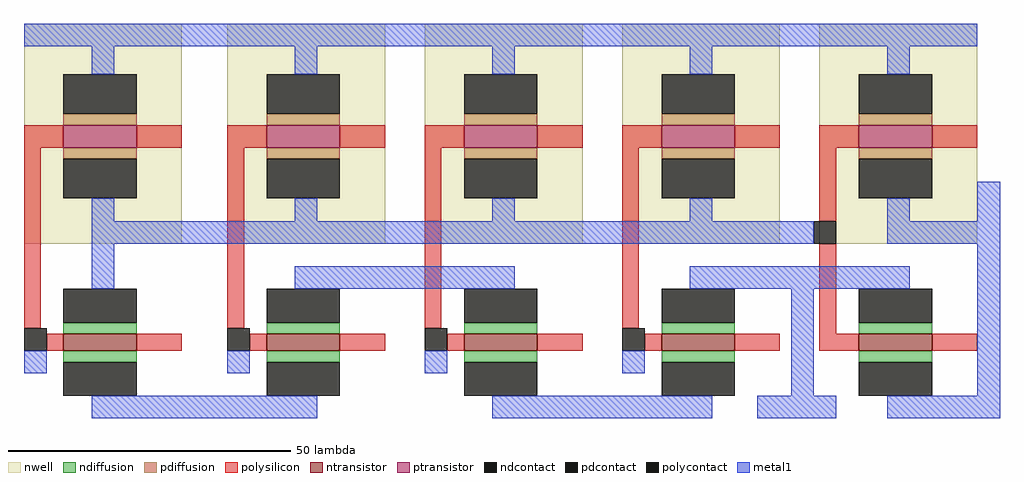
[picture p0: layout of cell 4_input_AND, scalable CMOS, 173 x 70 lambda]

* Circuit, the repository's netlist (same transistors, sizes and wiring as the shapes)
* SPICE3 file created from 4_input.ext - technology: scmos

.option scale=0.09u

M1000 a_n21_n38# a_n28_n41# a_n57_n49# Gnd nfet w=13 l=3
+  ad=208 pd=84 as=208 ps=84
M1001 a_n57_n1# a_n28_n41# a_n57_n38# w_n28_n22# pfet w=13 l=4
+  ad=585 pd=220 as=468 ps=176
M1002 a_49_n38# a_42_n41# a_14_n49# Gnd nfet w=13 l=3
+  ad=208 pd=84 as=208 ps=84
M1003 a_49_n38# a_n57_n38# a_84_n49# Gnd nfet w=13 l=3
+  ad=0 pd=0 as=104 ps=42
M1004 a_n21_n38# a_7_n41# a_14_n49# Gnd nfet w=13 l=3
+  ad=0 pd=0 as=0 ps=0
M1005 a_n57_n1# a_n64_n41# a_n57_n38# w_n64_n22# pfet w=13 l=4
+  ad=0 pd=0 as=0 ps=0
M1006 a_n57_n1# a_7_n41# a_n57_n38# w_7_n22# pfet w=13 l=4
+  ad=0 pd=0 as=0 ps=0
M1007 a_n57_n38# a_n64_n41# a_n57_n49# Gnd nfet w=13 l=3
+  ad=104 pd=42 as=0 ps=0
M1008 a_n57_n1# a_42_n41# a_n57_n38# w_42_n22# pfet w=13 l=4
+  ad=0 pd=0 as=0 ps=0
M1009 a_n57_n1# a_n57_n38# a_84_n49# w_77_n22# pfet w=13 l=4
+  ad=0 pd=0 as=117 ps=44

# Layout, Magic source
magic
tech scmos
<< nwell >>
rect -64 -22 -36 17
rect -28 -22 0 17
rect 7 -22 35 17
rect 42 -22 70 17
rect 77 -22 105 17
<< ntransistor >>
rect -57 -41 -44 -38
rect -21 -41 -8 -38
rect 14 -41 27 -38
rect 49 -41 62 -38
rect 84 -41 97 -38
<< ptransistor >>
rect -57 -5 -44 -1
rect -21 -5 -8 -1
rect 14 -5 27 -1
rect 49 -5 62 -1
rect 84 -5 97 -1
<< ndiffusion >>
rect -57 -38 -44 -36
rect -21 -38 -8 -36
rect 14 -38 27 -36
rect 49 -38 62 -36
rect 84 -38 97 -36
rect -57 -43 -44 -41
rect -21 -43 -8 -41
rect 14 -43 27 -41
rect 49 -43 62 -41
rect 84 -43 97 -41
<< pdiffusion >>
rect -57 -1 -44 1
rect -21 -1 -8 1
rect 14 -1 27 1
rect 49 -1 62 1
rect 84 -1 97 1
rect -57 -7 -44 -5
rect -21 -7 -8 -5
rect 14 -7 27 -5
rect 49 -7 62 -5
rect 84 -7 97 -5
<< ndcontact >>
rect -57 -36 -44 -30
rect -21 -36 -8 -30
rect 14 -36 27 -30
rect 49 -36 62 -30
rect 84 -36 97 -30
rect -57 -49 -44 -43
rect -21 -49 -8 -43
rect 14 -49 27 -43
rect 49 -49 62 -43
rect 84 -49 97 -43
<< pdcontact >>
rect -57 1 -44 8
rect -21 1 -8 8
rect 14 1 27 8
rect 49 1 62 8
rect 84 1 97 8
rect -57 -14 -44 -7
rect -21 -14 -8 -7
rect 14 -14 27 -7
rect 49 -14 62 -7
rect 84 -14 97 -7
<< polysilicon >>
rect -64 -5 -57 -1
rect -44 -5 -36 -1
rect -28 -5 -21 -1
rect -8 -5 0 -1
rect 7 -5 14 -1
rect 27 -5 35 -1
rect 42 -5 49 -1
rect 62 -5 70 -1
rect 77 -5 84 -1
rect 97 -5 105 -1
rect -64 -37 -61 -5
rect -28 -37 -25 -5
rect -60 -41 -57 -38
rect -44 -41 -36 -38
rect 7 -37 10 -5
rect -24 -41 -21 -38
rect -8 -41 0 -38
rect 42 -37 45 -5
rect 77 -18 80 -5
rect 11 -41 14 -38
rect 27 -41 35 -38
rect 77 -38 80 -22
rect 46 -41 49 -38
rect 62 -41 70 -38
rect 77 -41 84 -38
rect 97 -41 105 -38
<< polycontact >>
rect -64 -41 -60 -37
rect -28 -41 -24 -37
rect 7 -41 11 -37
rect 76 -22 80 -18
rect 42 -41 46 -37
<< metal1 >>
rect -64 13 105 17
rect -52 8 -48 13
rect -16 8 -12 13
rect 19 8 23 13
rect 54 8 58 13
rect 89 8 93 13
rect -52 -18 -48 -14
rect -16 -18 -12 -14
rect 19 -18 23 -14
rect 54 -18 58 -14
rect 89 -18 93 -14
rect 105 -18 109 -11
rect -52 -22 76 -18
rect 89 -22 109 -18
rect -52 -30 -48 -22
rect -16 -30 23 -26
rect 54 -30 93 -26
rect -64 -45 -60 -41
rect -28 -45 -24 -41
rect 7 -45 11 -41
rect 42 -45 46 -41
rect 72 -49 76 -30
rect 105 -49 109 -22
rect -52 -53 -12 -49
rect 19 -53 58 -49
rect 66 -53 80 -49
rect 89 -53 109 -49
<< end >>
